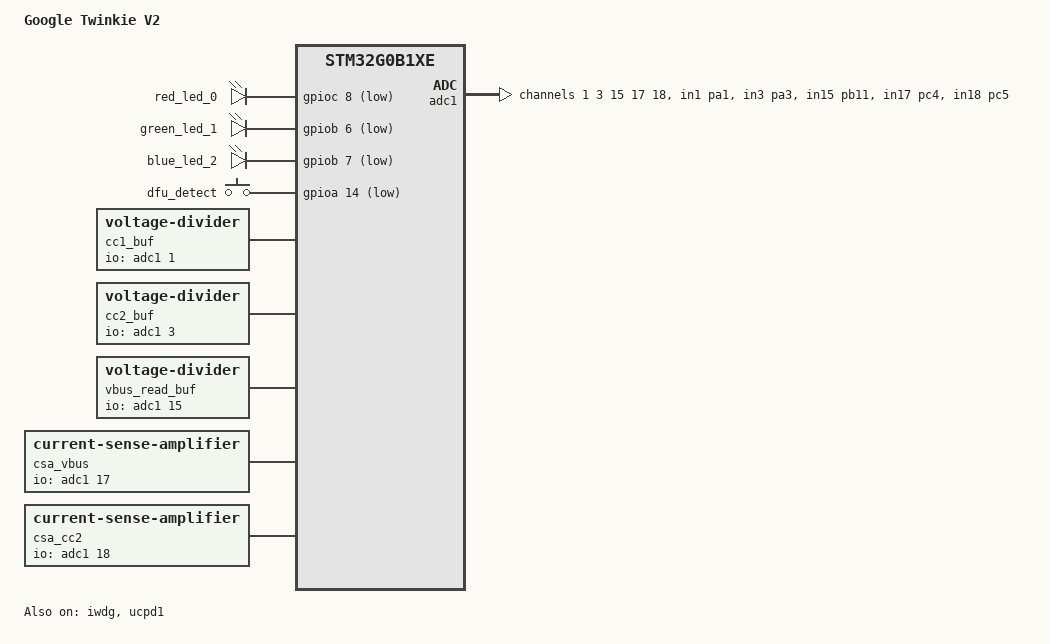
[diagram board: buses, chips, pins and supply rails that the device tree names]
/*
 * Copyright 2023 The ChromiumOS Authors
 *
 * SPDX-License-Identifier: Apache-2.0
 */

/dts-v1/;
#include <st/g0/stm32g0b1Xe.dtsi>
#include <st/g0/stm32g0b1r(b-c-e)ixn-pinctrl.dtsi>
#include <zephyr/dt-bindings/input/input-event-codes.h>

/ {
	model = "Google Twinkie V2";
	compatible = "google,twinkie-v2";

	chosen {
		zephyr,sram = &sram0;
		zephyr,flash = &flash0;
	};

	leds {
		compatible = "gpio-leds";
		red_led_0: led0 {
			gpios = <&gpioc 8 GPIO_ACTIVE_LOW>;
		};
		green_led_1: led1 {
			gpios = <&gpiob 6 GPIO_ACTIVE_LOW>;
		};
		blue_led_2: led2 {
			gpios = <&gpiob 7 GPIO_ACTIVE_LOW>;
		};
	};

	gpio_keys {
		compatible = "gpio-keys";

		/* does not go to an actual button in current hardware.
		 * short TP5 to TP6 to activate.
		 */
		dfu_detect: dfudetect {
			gpios = <&gpioa 14 (GPIO_ACTIVE_LOW | GPIO_PULL_UP)>;
			zephyr,code = <INPUT_KEY_0>;
		};
	};

	cc1_buf: cc1buf {
		compatible = "voltage-divider";
		io-channels = <&adc1 1>;
		output-ohms = <2000000000>;
	};

	cc2_buf: cc2buf {
		compatible = "voltage-divider";
		io-channels = <&adc1 3>;
		output-ohms = <2000000000>;
	};

	vbus_read_buf: vbusv {
		compatible = "voltage-divider";
		io-channels = <&adc1 15>;
		output-ohms = <68000>;
		full-ohms = <(2000000 + 68000)>;
	};

	csa_vbus: vbusc {
		compatible = "current-sense-amplifier";
		io-channels = <&adc1 17>;
		sense-resistor-micro-ohms = <3000>;
		sense-gain-mult = <100>;
	};

	csa_cc2: vconc {
		compatible = "current-sense-amplifier";
		io-channels = <&adc1 18>;
		sense-resistor-micro-ohms = <10000>;
		sense-gain-mult = <25>;
	};

	aliases {
		led0 = &red_led_0;
		led1 = &green_led_1;
		led2 = &blue_led_2;
		bootloader-led0 = &blue_led_2;
		vcc1 = &cc1_buf;
		vcc2 = &cc2_buf;
		vbus = &vbus_read_buf;
		cbus = &csa_vbus;
		ccon = &csa_cc2;
	};
};


&adc1 {
	#address-cells = <1>;
	#size-cells = <0>;

	pinctrl-0 = <&adc1_in1_pa1	/* CC1_BUF	 */
		     &adc1_in3_pa3	/* CC2_BUF	 */
		     &adc1_in15_pb11	/* VBUS_READ_BUF */
		     &adc1_in17_pc4	/* CSA_VBUS	 */
		     &adc1_in18_pc5	/* CSA_CC2	 */
		    >;
	pinctrl-names = "default";
	st,adc-clock-source = <SYNC>;
	st,adc-prescaler = <4>;
	status = "okay";

	channel@1 {
		reg = <1>;
		zephyr,gain = "ADC_GAIN_1";
		zephyr,reference = "ADC_REF_INTERNAL";
		zephyr,vref-mv = <3300>;
		zephyr,acquisition-time = <ADC_ACQ_TIME_DEFAULT>;
		zephyr,resolution = <12>;
	};

	channel@3 {
		reg = <3>;
		zephyr,gain = "ADC_GAIN_1";
		zephyr,reference = "ADC_REF_INTERNAL";
		zephyr,vref-mv = <3300>;
		zephyr,acquisition-time = <ADC_ACQ_TIME_DEFAULT>;
		zephyr,resolution = <12>;
	};

	channel@15 {
		reg = <15>;
		zephyr,gain = "ADC_GAIN_1";
		zephyr,reference = "ADC_REF_INTERNAL";
		zephyr,vref-mv = <3300>;
		zephyr,acquisition-time = <ADC_ACQ_TIME_DEFAULT>;
		zephyr,resolution = <12>;
	};

	channel@17 {
		reg = <17>;
		zephyr,gain = "ADC_GAIN_1";
		zephyr,reference = "ADC_REF_INTERNAL";
		zephyr,vref-mv = <3300>;
		zephyr,acquisition-time = <ADC_ACQ_TIME_DEFAULT>;
		zephyr,resolution = <12>;
	};

	channel@18 {
		reg = <18>;
		zephyr,gain = "ADC_GAIN_1";
		zephyr,reference = "ADC_REF_INTERNAL";
		zephyr,vref-mv = <3300>;
		zephyr,acquisition-time = <ADC_ACQ_TIME_DEFAULT>;
		zephyr,resolution = <12>;
	};
};

&clk_hsi {
	status = "okay";
};

&pll {
	div-m = <1>;
	mul-n = <8>;
	div-p = <2>;
	div-q = <2>;
	div-r = <2>;
	clocks = <&clk_hsi>;
	status = "okay";
};

&rcc {
	clocks = <&pll>;
	clock-frequency = <DT_FREQ_M(64)>;
	ahb-prescaler = <1>;
	apb1-prescaler = <1>;
};

&iwdg {
	status = "okay";
};

&ucpd1 {
	status = "okay";

	psc-ucpdclk = <1>;
	hbitclkdiv = <27>;
	pinctrl-0 = <&ucpd1_cc1_pa8 &ucpd1_cc2_pb15>;
	pinctrl-names = "default";
};
